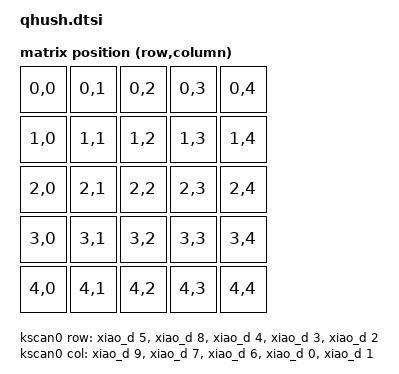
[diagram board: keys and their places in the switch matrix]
#include <dt-bindings/zmk/matrix_transform.h>
#include <physical_layouts.dtsi>
#include <dt-bindings/led/led.h>

/ {
    // 1. バッテリーチェック無効化
    vbatt: vbatt {
        status = "disabled";
    };

    // 2. マトリックスの形 (5x5)
    default_transform: keymap_transform_0 {
        compatible = "zmk,matrix-transform";
        columns = <5>;
        rows = <5>;
        map = <
            RC(0,0) RC(0,1) RC(0,2) RC(0,3) RC(0,4)
            RC(1,0) RC(1,1) RC(1,2) RC(1,3) RC(1,4)
            RC(2,0) RC(2,1) RC(2,2) RC(2,3) RC(2,4)
            RC(3,0) RC(3,1) RC(3,2) RC(3,3) RC(3,4)
            RC(4,0) RC(4,1) RC(4,2) RC(4,3) RC(4,4)
        >;
    };

    // 【修正箇所】この「physical_layouts」の箱（ラッパー）が絶対に必要でした！
    physical_layouts {
        compatible = "zmk,physical-layouts";

        // 3. ZMK Studio用レイアウト定義
        default_layout: default_layout {
            compatible = "zmk,physical-layout";
            display-name = "Default Layout";
            transform = <&default_transform>;
            kscan = <&kscan0>;
            
            keys
                = <&key_physical_attrs 100 100   0   0 0 0 0>, <&key_physical_attrs 100 100 100   0 0 0 0>, <&key_physical_attrs 100 100 200   0 0 0 0>, <&key_physical_attrs 100 100 300   0 0 0 0>, <&key_physical_attrs 100 100 400   0 0 0 0>
                , <&key_physical_attrs 100 100   0 100 0 0 0>, <&key_physical_attrs 100 100 100 100 0 0 0>, <&key_physical_attrs 100 100 200 100 0 0 0>, <&key_physical_attrs 100 100 300 100 0 0 0>, <&key_physical_attrs 100 100 400 100 0 0 0>
                , <&key_physical_attrs 100 100   0 200 0 0 0>, <&key_physical_attrs 100 100 100 200 0 0 0>, <&key_physical_attrs 100 100 200 200 0 0 0>, <&key_physical_attrs 100 100 300 200 0 0 0>, <&key_physical_attrs 100 100 400 200 0 0 0>
                , <&key_physical_attrs 100 100   0 300 0 0 0>, <&key_physical_attrs 100 100 100 300 0 0 0>, <&key_physical_attrs 100 100 200 300 0 0 0>, <&key_physical_attrs 100 100 300 300 0 0 0>, <&key_physical_attrs 100 100 400 300 0 0 0>
                , <&key_physical_attrs 100 100   0 400 0 0 0>, <&key_physical_attrs 100 100 100 400 0 0 0>, <&key_physical_attrs 100 100 200 400 0 0 0>, <&key_physical_attrs 100 100 300 400 0 0 0>, <&key_physical_attrs 100 100 400 400 0 0 0>
                ;
        };
    };

    // 4. キースイッチの配線
    kscan0: kscan {
        compatible = "zmk,kscan-gpio-matrix";
        wakeup-source;
        diode-direction = "col2row";

        col-gpios
            = <&xiao_d 9 GPIO_ACTIVE_HIGH>
            , <&xiao_d 7 GPIO_ACTIVE_HIGH>
            , <&xiao_d 6 GPIO_ACTIVE_HIGH>
            , <&xiao_d 0 GPIO_ACTIVE_HIGH>
            , <&xiao_d 1 GPIO_ACTIVE_HIGH>
            ;

        row-gpios
            = <&xiao_d 5 (GPIO_ACTIVE_HIGH | GPIO_PULL_DOWN)>
            , <&xiao_d 8 (GPIO_ACTIVE_HIGH | GPIO_PULL_DOWN)>
            , <&xiao_d 4 (GPIO_ACTIVE_HIGH | GPIO_PULL_DOWN)>
            , <&xiao_d 3 (GPIO_ACTIVE_HIGH | GPIO_PULL_DOWN)>
            , <&xiao_d 2 (GPIO_ACTIVE_HIGH | GPIO_PULL_DOWN)>
            ;
    };
};

// 5. ピンの完全解放
&i2c0 { status = "disabled"; };
&i2c1 { status = "disabled"; };
&spi2 { status = "disabled"; };
&uart0 { status = "disabled"; };

// 6. LED設定
&pinctrl {
    spi3_default: spi3_default {
        group1 {
            psels = <NRF_PSEL(SPIM_MOSI, 1, 15)>;
        };
    };
    spi3_sleep: spi3_sleep {
        group1 {
            psels = <NRF_PSEL(SPIM_MOSI, 1, 15)>;
            low-power-enable;
        };
    };
};

&spi3 {
    compatible = "nordic,nrf-spim";
    status = "okay";
    pinctrl-0 = <&spi3_default>;
    pinctrl-1 = <&spi3_sleep>;
    pinctrl-names = "default","sleep";
    
    led_strip: ws2812@0 {
        compatible = "worldsemi,ws2812-spi";
        reg = <0>;
        spi-max-frequency = <4000000>;
        chain-length = <4>;
        spi-one-frame = <0x70>;
        spi-zero-frame = <0x40>;
        color-mapping = <LED_COLOR_ID_GREEN
                         LED_COLOR_ID_RED
                         LED_COLOR_ID_BLUE>;
    };
};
